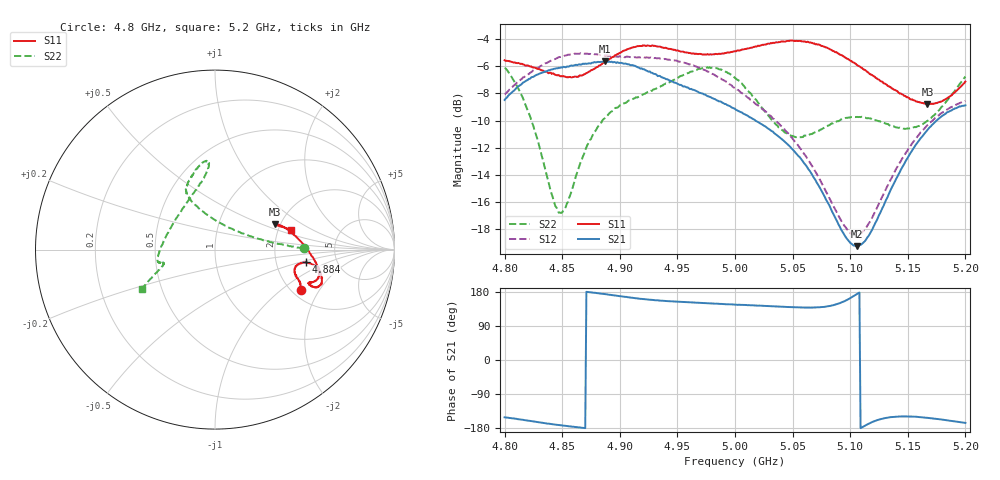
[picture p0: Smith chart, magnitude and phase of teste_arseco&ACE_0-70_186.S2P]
! Network Analyzer HP8722D
! Hewlett-Packard
! Data name: Linha & Wilkinson
! Saver's name: Rodrigo Anjos
! Comments: Teste da utilização de aquisição
! continua pelo VNA HP8722D
! Time and date: 8/5/2025 14:18
!  Frequency  S11  S21  S12  S22
# HZ  S  MA R 50
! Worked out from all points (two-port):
!   401 points, 4.8 GHz to 5.2 GHz, reference 50 ohm
!   highest |S21| = -5.63 dB at 4.887 GHz (marker M1); lowest = -19.3 dB at 5.106 GHz (marker M2)
!   |S21| within 3 dB of the highest: start of sweep to 4.988 GHz
!   lowest |S11| = -8.8 dB at 5.167 GHz (marker M3), VSWR 2.14, Z = 93.9 + j30.6 ohm
!   |S11| at or under -10 dB: nowhere
!   |S22| runs from -16.8 to -6.1 dB; largest |S21 - S12| = 1.1
!   S11 on the Smith chart (normalised r, x): 4.8 GHz: 2.24, -1.39; 4.884 GHz: 2.95, -0.56; 5.2 GHz: 2.36, +0.65
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4.8e9  0.5274 -25.1  0.3766 -151.2  0.3952 8.1  0.4938 0.8
4.82e9  0.5051 -20.6  0.446 -159.7  0.4668 5.2  0.3462 5.7
4.842e9  0.4724 -17.3  0.4885 -169.7  0.529 1.8  0.1638 38.2
4.847e9  0.4646 -16.1  0.4946 -171.6  0.5414 0.7  0.1447 56.8
4.854e9  0.4568 -14.6  0.5001 -174.1  0.5506 -0.5  0.156 83.2
4.867e9  0.4633 -10.8  0.5096 -178.8  0.5575 -2.4  0.2272 108.5
4.884e9  0.5092 -7.9  0.5202 174.9  0.5518 -3.4  0.311 116.3
4.887e9  0.5208 -8.1  0.5228 173.9  0.5495 -3.3  0.3226 116.9
4.913e9  0.5898 -11.9  0.5035 163.3  0.5418 -2.8  0.3824 114.4
4.934e9  0.5923 -16.6  0.4622 156.9  0.537 -3.6  0.4193 108.9
4.974e9  0.5542 -19.6  0.3945 150.1  0.4853 -7.1  0.494 96.7
5e9  0.5696 -20.6  0.3492 146.0  0.4162 -6.9  0.4538 95.0
5.044e9  0.6188 -18.6  0.2624 140.0  0.2893 1.4  0.285 132.2
5.067e9  0.6111 -14.0  0.1996 138.4  0.2149 8.6  0.2825 165.1
5.094e9  0.5461 -4.3  0.1218 153.9  0.1314 33.7  0.3197 -173.0
5.106e9  0.506 1.2  0.1089 174.2  0.1198 56.8  0.3262 -169.0
5.117e9  0.4691 7.0  0.121 -166.6  0.1338 77.4  0.322 -167.3
5.134e9  0.4217 15.2  0.1713 -151.2  0.1873 94.3  0.3039 -166.2
5.149e9  0.3855 20.7  0.2274 -148.9  0.2432 99.1  0.2953 -165.1
5.167e9  0.3639 22.9  0.2916 -152.6  0.3042 100.2  0.3153 -161.7
5.182e9  0.3775 20.7  0.3338 -158.2  0.343 100.2  0.3647 -157.6
5.2e9  0.4401 14.6  0.3598 -166.0  0.3736 100.6  0.4592 -151.8
